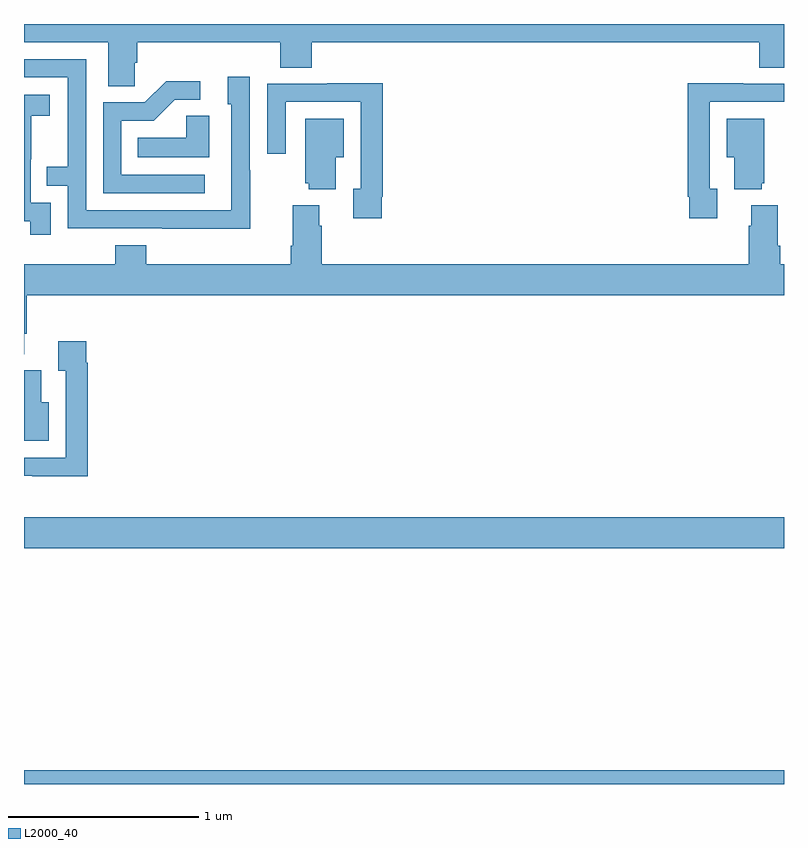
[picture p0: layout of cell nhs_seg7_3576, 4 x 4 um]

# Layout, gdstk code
import gdstk
lib = gdstk.Library(unit=1e-6, precision=1e-09)
def R(c, l, rs):  # rectangles x0, y0, x1, y1
    for r in rs: c.add(gdstk.rectangle(r[:2], r[2:], *l))
def P(c, l, *ps):  # polygons
    for p in ps: c.add(gdstk.Polygon(p, *l))
L2000_40 = (2000, 40)

nhs_seg7_3576 = lib.new_cell('nhs_seg7_3576')
R(nhs_seg7_3576, L2000_40, [(339,1042,343,1042.072), (339,1043.24,343,1043.404)])
P(nhs_seg7_3576, L2000_40, [(339.582,1045.795),(339.596,1045.795),(339.596,1045.904),(340.349,1045.904),(340.349,1045.771),(340.514,1045.771),(340.514,1045.904),(342.869,1045.904),(342.869,1045.771),(343,1045.771),(343,1046),(339,1046),(339,1045.904),(339.443,1045.904),(339.443,1045.672),(339.582,1045.672)],
  [(340.191,1045.229),(340.188,1045.229),(340.188,1045.723),(340.073,1045.723),(340.073,1045.578),(340.092,1045.578),(340.092,1045.02),(339.327,1045.02),(339.327,1045.815),(339,1045.815),(339,1045.719),(339.231,1045.719),(339.231,1045.25),(339.121,1045.25),(339.121,1045.149),(339.231,1045.149),(339.231,1044.924),(339.727,1044.924),(339.727,1044.923),(340.191,1044.923)],
  [(339.952,1045.206),(339.513,1045.206),(339.513,1045.491),(339.682,1045.491),(339.793,1045.602),(339.928,1045.602),(339.928,1045.7),(339.749,1045.7),(339.636,1045.587),(339.417,1045.587),(339.417,1045.11),(339.952,1045.11)],
  [(342.649,1045.134),(342.609,1045.134),(342.609,1045.59),(343,1045.59),(343,1045.686),(342.785,1045.686),(342.785,1045.688),(342.493,1045.688),(342.493,1045.09),(342.501,1045.09),(342.501,1044.978),(342.649,1044.978)],
  [(340.882,1045.09),(340.889,1045.09),(340.889,1045.688),(340.597,1045.688),(340.597,1045.686),(340.281,1045.686),(340.281,1045.317),(340.377,1045.317),(340.377,1045.59),(340.773,1045.59),(340.773,1045.134),(340.733,1045.134),(340.733,1044.978),(340.882,1044.978)],
  [(339.141,1045.059),(339.036,1045.059),(339.036,1045.289),(339.038,1045.289),(339.038,1045.517),(339.136,1045.517),(339.136,1045.627),(339,1045.627),(339,1044.961),(339.033,1044.961),(339.033,1044.891),(339.141,1044.891)],
  [(339.976,1045.517),(339.855,1045.517),(339.855,1045.402),(339.598,1045.402),(339.598,1045.298),(339.976,1045.298)],
  [(340.642,1045.298),(340.684,1045.298),(340.684,1045.501),(340.481,1045.501),(340.481,1045.161),(340.499,1045.161),(340.499,1045.13),(340.642,1045.13)],
  [(342.884,1045.161),(342.895,1045.161),(342.895,1045.501),(342.698,1045.501),(342.698,1045.298),(342.737,1045.298),(342.737,1045.13),(342.884,1045.13)],
  [(343,1044.736),(342.98,1044.736),(342.98,1044.832),(342.967,1044.832),(342.967,1045.045),(342.827,1045.045),(342.827,1044.938),(342.815,1044.938),(342.815,1044.736),(340.568,1044.736),(340.568,1044.938),(340.555,1044.938),(340.555,1045.045),(340.415,1045.045),(340.415,1044.832),(340.403,1044.832),(340.403,1044.736),(339.644,1044.736),(339.644,1044.835),(339.479,1044.835),(339.479,1044.736),(339,1044.736),(339,1044.263),(339.001,1044.263),(339.001,1044.37),(339.014,1044.37),(339.014,1044.572),(343,1044.572)],
  [(339.335,1044.218),(339.328,1044.218),(339.328,1044.331),(339.179,1044.331),(339.179,1044.175),(339.219,1044.175),(339.219,1043.718),(339,1043.718),(339,1043.622),(339.043,1043.622),(339.043,1043.621),(339.335,1043.621)],
  [(339.13,1044.01),(339.091,1044.01),(339.091,1044.178),(339,1044.178),(339,1043.807),(339.13,1043.807)])

lib.write_gds('nhs_seg7_3576.gds')
